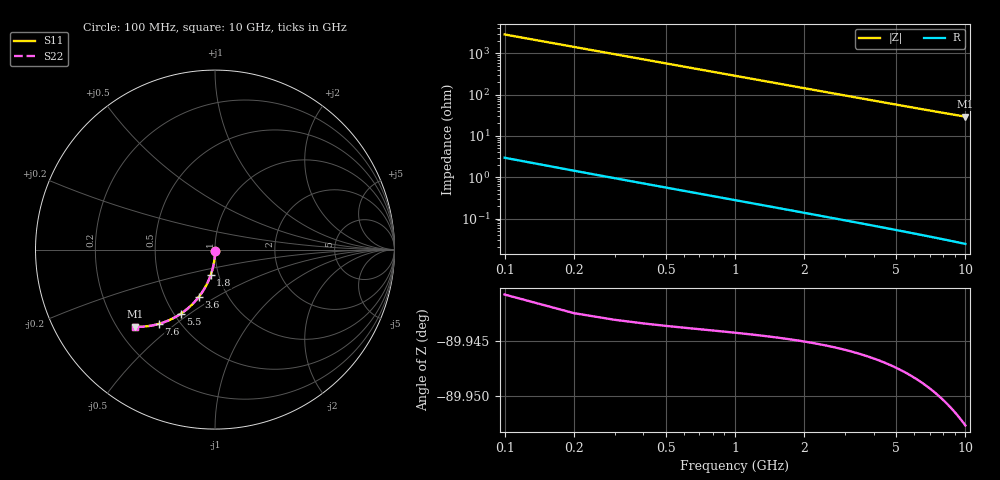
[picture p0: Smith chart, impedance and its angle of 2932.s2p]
# Hz S RI R 50.00
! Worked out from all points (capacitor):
!   100 points, 100 MHz to 10 GHz, reference 50 ohm
!   read as one part in shunt: C = 556 fF near 100 MHz
!   lowest |Z| = 29.3 ohm at 10 GHz (marker M1)
!   S11 on the Smith chart (normalised r, x): 100 MHz: 1.00, -0.02; 1.8 GHz: 0.92, -0.27; 3.6 GHz: 0.73, -0.42; 5.5 GHz: 0.54, -0.46; 7.6 GHz: 0.39, -0.44; 10 GHz: 0.27, -0.38
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1e8  7.99e-05 -0.00808  0.9997 -0.00938  0.9997 -0.00938  7.99e-05 -0.00808
2e8  -0.000155 -0.0162  0.9995 -0.0188  0.9995 -0.0188  -0.000155 -0.0162
3e8  -0.000541 -0.0242  0.9991 -0.0281  0.9991 -0.0281  -0.000541 -0.0242
4e8  -0.00108 -0.0323  0.9986 -0.0375  0.9986 -0.0375  -0.00108 -0.0323
5e8  -0.00177 -0.0403  0.9979 -0.0468  0.9979 -0.0468  -0.00177 -0.0403
6e8  -0.00261 -0.0484  0.997 -0.0561  0.997 -0.0561  -0.00261 -0.0484
8e8  -0.00473 -0.0643  0.9949 -0.0747  0.9949 -0.0747  -0.00473 -0.0643
1.1e9  -0.00903 -0.0881  0.9905 -0.1024  0.9905 -0.1024  -0.00903 -0.0881
1.4e9  -0.0146 -0.1115  0.9849 -0.1297  0.9849 -0.1297  -0.0146 -0.1115
1.8e9  -0.024 -0.142  0.9753 -0.1653  0.9753 -0.1653  -0.024 -0.142
2.1e9  -0.0325 -0.1641  0.9668 -0.1915  0.9668 -0.1915  -0.0325 -0.1641
2.5e9  -0.0456 -0.1927  0.9536 -0.2253  0.9536 -0.2253  -0.0456 -0.1927
2.9e9  -0.0605 -0.22  0.9385 -0.2577  0.9385 -0.2577  -0.0605 -0.22
3.4e9  -0.0815 -0.2519  0.9172 -0.2963  0.9172 -0.2963  -0.0815 -0.2519
3.6e9  -0.0906 -0.264  0.908 -0.311  0.908 -0.311  -0.0906 -0.264
4.3e9  -0.1248 -0.303  0.8732 -0.3592  0.8732 -0.3592  -0.1248 -0.303
5.1e9  -0.1678 -0.3409  0.8296 -0.4078  0.8296 -0.4078  -0.1678 -0.3409
5.5e9  -0.1903 -0.3571  0.8067 -0.4293  0.8067 -0.4293  -0.1903 -0.3571
6.7e9  -0.2601 -0.3951  0.7356 -0.4836  0.7356 -0.4836  -0.2601 -0.3951
7.6e9  -0.3128 -0.4138  0.6817 -0.5146  0.6817 -0.5146  -0.3128 -0.4138
8.4e9  -0.3586 -0.4241  0.6347 -0.536  0.6347 -0.536  -0.3586 -0.4241
1e10  -0.4449 -0.4298  0.5456 -0.5641  0.5456 -0.5641  -0.4449 -0.4298
